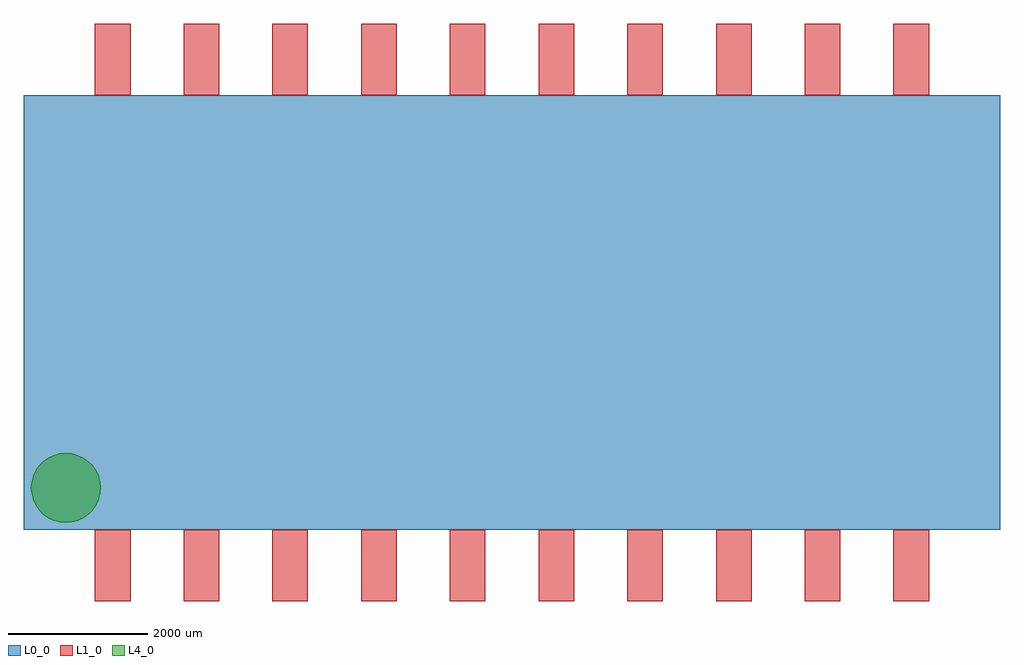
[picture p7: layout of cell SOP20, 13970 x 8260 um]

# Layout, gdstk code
import gdstk
lib = gdstk.Library(unit=1e-6, precision=1e-09)
def R(c, l, rs):  # rectangles x0, y0, x1, y1
    for r in rs: c.add(gdstk.rectangle(r[:2], r[2:], *l))
def A(c, l, x, y, w, h, nx, ny, dx, dy):  # array of equal rectangles
    R(c, l, [(x+i*dx, y+j*dy, x+i*dx+w, y+j*dy+h) for i in range(nx) for j in range(ny)])
def P(c, l, *ps):  # polygons
    for p in ps: c.add(gdstk.Polygon(p, *l))
L0_0 = (0, 0)
L1_0 = (1, 0)
L4_0 = (4, 0)
L99_1 = (99, 1)
L99_2 = (99, 2)
L99_3 = (99, 3)
L99_4 = (99, 4)
L99_5 = (99, 5)
L99_6 = (99, 6)
L99_7 = (99, 7)
L99_8 = (99, 8)
L99_9 = (99, 9)
L99_10 = (99, 10)
L99_11 = (99, 11)
L99_12 = (99, 12)
L99_13 = (99, 13)
L99_14 = (99, 14)
L99_15 = (99, 15)
L99_16 = (99, 16)
L99_17 = (99, 17)
L99_18 = (99, 18)
L99_19 = (99, 19)
L99_20 = (99, 20)

sop20 = lib.new_cell('SOP20')
R(sop20, L0_0, [(0,0,13970,6220)])
A(sop20, L1_0, 1015, -1020, 510, 1020, 10, 2, 1270, 7240)
P(sop20, L4_0, [(1100,600),(1092.404,513.176),(1069.846,428.99),(1033.013,350),(983.022,278.606),(921.394,216.978),(850,166.987),(771.01,130.154),(686.824,107.596),(600,100),(513.176,107.596),(428.99,130.154),(350,166.987),(278.606,216.978),(216.978,278.606),(166.987,350),(130.154,428.99),(107.596,513.176),(100,600),(107.596,686.824),(130.154,771.01),(166.987,850),(216.978,921.394),(278.606,983.022),(350,1033.013),(428.99,1069.846),(513.176,1092.404),(600,1100),(686.824,1092.404),(771.01,1069.846),(850,1033.013),(921.394,983.022),(983.022,921.394),(1033.013,850),(1069.846,771.01),(1092.404,686.824)])
sop20.add(gdstk.FlexPath([(1525,0),(1015,0)], 0, ends="round", simple_path=True, layer=99, datatype=1))  # L99_1
sop20.add(gdstk.FlexPath([(2795,0),(2285,0)], 0, ends="round", simple_path=True, layer=99, datatype=2))  # L99_2
sop20.add(gdstk.FlexPath([(4065,0),(3555,0)], 0, ends="round", simple_path=True, layer=99, datatype=3))  # L99_3
sop20.add(gdstk.FlexPath([(5335,0),(4825,0)], 0, ends="round", simple_path=True, layer=99, datatype=4))  # L99_4
sop20.add(gdstk.FlexPath([(6605,0),(6095,0)], 0, ends="round", simple_path=True, layer=99, datatype=5))  # L99_5
sop20.add(gdstk.FlexPath([(7875,0),(7365,0)], 0, ends="round", simple_path=True, layer=99, datatype=6))  # L99_6
sop20.add(gdstk.FlexPath([(9145,0),(8635,0)], 0, ends="round", simple_path=True, layer=99, datatype=7))  # L99_7
sop20.add(gdstk.FlexPath([(10415,0),(9905,0)], 0, ends="round", simple_path=True, layer=99, datatype=8))  # L99_8
sop20.add(gdstk.FlexPath([(11685,0),(11175,0)], 0, ends="round", simple_path=True, layer=99, datatype=9))  # L99_9
sop20.add(gdstk.FlexPath([(12955,0),(12445,0)], 0, ends="round", simple_path=True, layer=99, datatype=10))  # L99_10
sop20.add(gdstk.FlexPath([(1015,6220),(1525,6220)], 0, ends="round", simple_path=True, layer=99, datatype=20))  # L99_20
sop20.add(gdstk.FlexPath([(2285,6220),(2795,6220)], 0, ends="round", simple_path=True, layer=99, datatype=19))  # L99_19
sop20.add(gdstk.FlexPath([(3555,6220),(4065,6220)], 0, ends="round", simple_path=True, layer=99, datatype=18))  # L99_18
sop20.add(gdstk.FlexPath([(4825,6220),(5335,6220)], 0, ends="round", simple_path=True, layer=99, datatype=17))  # L99_17
sop20.add(gdstk.FlexPath([(6095,6220),(6605,6220)], 0, ends="round", simple_path=True, layer=99, datatype=16))  # L99_16
sop20.add(gdstk.FlexPath([(7365,6220),(7875,6220)], 0, ends="round", simple_path=True, layer=99, datatype=15))  # L99_15
sop20.add(gdstk.FlexPath([(8635,6220),(9145,6220)], 0, ends="round", simple_path=True, layer=99, datatype=14))  # L99_14
sop20.add(gdstk.FlexPath([(9905,6220),(10415,6220)], 0, ends="round", simple_path=True, layer=99, datatype=13))  # L99_13
sop20.add(gdstk.FlexPath([(11175,6220),(11685,6220)], 0, ends="round", simple_path=True, layer=99, datatype=12))  # L99_12
sop20.add(gdstk.FlexPath([(12445,6220),(12955,6220)], 0, ends="round", simple_path=True, layer=99, datatype=11))  # L99_11

lib.write_gds('SOP20.gds')
